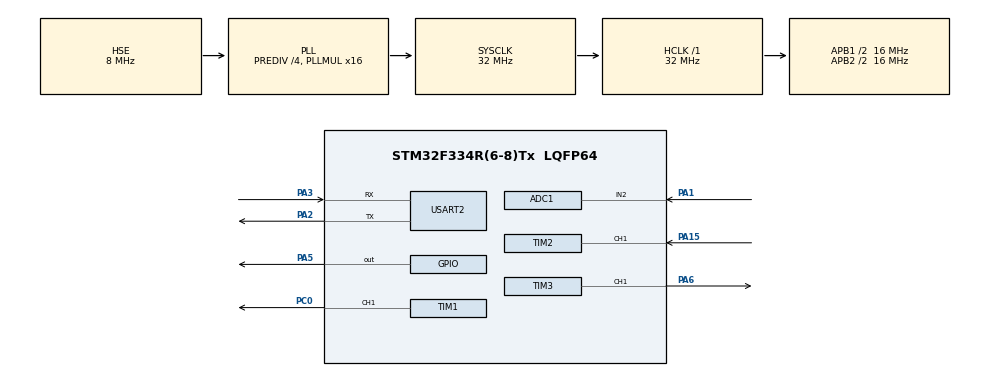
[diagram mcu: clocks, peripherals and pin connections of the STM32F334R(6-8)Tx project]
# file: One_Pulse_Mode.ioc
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ADC1.Channel-3\#ChannelRegularConversion=ADC_CHANNEL_2
ADC1.ContinuousConvMode=ENABLE
ADC1.DMAContinuousRequests=ENABLE
ADC1.NbrOfConversionFlag=1
ADC1.Offset-3\#ChannelRegularConversion=0
ADC1.OffsetNumber-3\#ChannelRegularConversion=ADC_OFFSET_NONE
ADC1.Rank-3\#ChannelRegularConversion=1
ADC1.SamplingTime-3\#ChannelRegularConversion=ADC_SAMPLETIME_1CYCLE_5
ADC1.SamplingTimeOPAMP-3\#ChannelRegularConversion=ADC_SAMPLETIME_19CYCLES_5
ADC1.SubFamily=STM32F334x8
ADC1.master=1
Dma.ADC1.0.Direction=DMA_PERIPH_TO_MEMORY
Dma.ADC1.0.Instance=DMA1_Channel1
Dma.ADC1.0.MemDataAlignment=DMA_MDATAALIGN_WORD
Dma.ADC1.0.MemInc=DMA_MINC_ENABLE
Dma.ADC1.0.Mode=DMA_CIRCULAR
Dma.ADC1.0.PeriphDataAlignment=DMA_PDATAALIGN_HALFWORD
Dma.ADC1.0.PeriphInc=DMA_PINC_DISABLE
Dma.ADC1.0.Priority=DMA_PRIORITY_LOW
Dma.Request0=ADC1
Mcu.Family=STM32F3
Mcu.Name=STM32F334R(6-8)Tx
Mcu.Package=LQFP64
NVIC.DMA1_Channel1_IRQn=true\:0\:0\:false\:false\:true\:false\:true\:true
NVIC.PriorityGroup=NVIC_PRIORITYGROUP_4
NVIC.TIM2_IRQn=true\:0\:0\:false\:false\:true\:true\:true\:true
NVIC.TIM3_IRQn=true\:0\:0\:false\:false\:true\:true\:true\:true
PA1.Mode=IN2-Single-Ended
PA1.Signal=ADC1_IN2
PA15.Signal=S_TIM2_CH1_ETR
PA2.Mode=Asynchronous
PA2.Signal=USART2_TX
PA3.Mode=Asynchronous
PA3.Signal=USART2_RX
PA5.Signal=GPIO_Output
PA6.Signal=S_TIM3_CH1
PC0.Signal=S_TIM1_CH1
PF0\ /\ OSC_IN.Mode=HSE-External-Oscillator
PF0\ /\ OSC_IN.Signal=RCC_OSC_IN
PF1\ /\ OSC_OUT.Mode=HSE-External-Oscillator
PF1\ /\ OSC_OUT.Signal=RCC_OSC_OUT
ProjectManager.HeapSize=0x200
ProjectManager.StackSize=0x400
ProjectManager.TargetToolchain=STM32CubeIDE
RCC.AHBFreq_Value=32000000
RCC.APB1CLKDivider=RCC_HCLK_DIV2
RCC.APB1Freq_Value=16000000
RCC.APB1TimFreq_Value=32000000
RCC.APB2CLKDivider=RCC_HCLK_DIV2
RCC.APB2Freq_Value=16000000
RCC.APB2TimFreq_Value=32000000
RCC.CortexFreq_Value=32000000
RCC.HCLKFreq_Value=32000000
RCC.HSE_VALUE=8000000
RCC.HSI_VALUE=8000000
RCC.LSE_VALUE=32768
RCC.PLLMUL=RCC_PLL_MUL16
RCC.PLLSourceVirtual=RCC_PLLSOURCE_HSE
RCC.RCC_PLLsource_Clock_Source_FROM_HSE=RCC_HSE_PREDIV_DIV4
RCC.SYSCLKFreq_VALUE=32000000
RCC.SYSCLKSourceVirtual=RCC_SYSCLKSOURCE_PLLCLK
SH.S_TIM1_CH1.0=TIM1_CH1,Output Compare1 CH1
SH.S_TIM2_CH1_ETR.0=TIM2_CH1,Input_Capture1_from_TI1
SH.S_TIM3_CH1.0=TIM3_CH1,Output Compare1 CH1
TIM1.Channel-Output\ Compare1\ CH1=TIM_CHANNEL_1
TIM1.Period=20-1
TIM1.Prescaler=32-1
TIM1.Pulse-Output\ Compare1\ CH1=10-1
TIM2.Channel-Input_Capture1_from_TI1=TIM_CHANNEL_1
TIM2.Period=10000-1
TIM2.Prescaler=32-1
TIM2.TIM_MasterOutputTrigger=TIM_TRGO_UPDATE
TIM2.TIM_MasterSlaveMode=TIM_MASTERSLAVEMODE_DISABLE
TIM3.Channel-Output\ Compare1\ CH1=TIM_CHANNEL_1
TIM3.Period=3010-1
TIM3.Prescaler=32-1
TIM3.Pulse-Output\ Compare1\ CH1=3000-1
USART2.VirtualMode-Asynchronous=VM_ASYNC
VP_TIM1_VS_ClockSourceITR.Mode=TriggerSource_ITR1
VP_TIM1_VS_ControllerModeTrigger.Mode=Trigger Mode
VP_TIM1_VS_OPM.Mode=OPM_bit
VP_TIM2_VS_ClockSourceINT.Mode=Internal
VP_TIM3_VS_ClockSourceITR.Mode=TriggerSource_ITR1
VP_TIM3_VS_ControllerModeTrigger.Mode=Trigger Mode
VP_TIM3_VS_OPM.Mode=OPM_bit
board=custom

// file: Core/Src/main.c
/* USER CODE BEGIN Header */
/**
  ******************************************************************************
  * @file           : main.c
  * @brief          : Main program body
  ******************************************************************************
  * @attention
  *
  * Copyright (c) 2023 STMicroelectronics.
  * All rights reserved.
  *
  * This software is licensed under terms that can be found in the LICENSE file
  * in the root directory of this software component.
  * If no LICENSE file comes with this software, it is provided AS-IS.
  *
  ******************************************************************************
  */
/* USER CODE END Header */
#include "main.h"

/* USER CODE BEGIN Includes */
#include <string.h>
#include <stdio.h>
/* USER CODE END Includes */

/* USER CODE BEGIN PD */
#define SAMPLES 82 //size for our buffer

#define Green_LED GPIO_PIN_5
/* USER CODE END PD */

ADC_HandleTypeDef hadc1;
DMA_HandleTypeDef hdma_adc1;

TIM_HandleTypeDef htim1;
TIM_HandleTypeDef htim2;
TIM_HandleTypeDef htim3;

UART_HandleTypeDef huart2;

/* USER CODE BEGIN PV */
uint8_t buf[12];
uint16_t adc_samp[SAMPLES];
// uint16_t convCompleted = 0;
static uint32_t new_data_available = 0;
uint32_t num_usart[SAMPLES];
uint32_t sum_2 =0;
uint32_t sum =0;

/* USER CODE END PV */

void SystemClock_Config(void);
static void MX_GPIO_Init(void);
static void MX_DMA_Init(void);
static void MX_TIM2_Init(void);
static void MX_TIM1_Init(void);
static void MX_TIM3_Init(void);
static void MX_ADC1_Init(void);
static void MX_USART2_UART_Init(void);

int main(void)
{

  /* MCU Configuration--------------------------------------------------------*/

  /* Reset of all peripherals, Initializes the Flash interface and the Systick. */
  HAL_Init();

  /* Configure the system clock */
  SystemClock_Config();

  /* Initialize all configured peripherals */
  MX_GPIO_Init();
  MX_DMA_Init();
  MX_TIM2_Init();
  MX_TIM1_Init();
  MX_TIM3_Init();
  MX_ADC1_Init();
  MX_USART2_UART_Init();
  /* USER CODE BEGIN 2 */

  // Enable update interrupt for TIM2
  HAL_TIM_Base_Start(&htim2);

  // Enable one-pulse mode and output compare interrupt for TIM1
  HAL_TIM_OnePulse_Start_IT(&htim1, TIM_CHANNEL_1);
  //HAL_TIM_OC_Start_IT(&htim1, TIM_CHANNEL_1);

  // Enable one-pulse mode and output compare interrupt for TIM3
  HAL_TIM_OnePulse_Start_IT(&htim3, TIM_CHANNEL_1);
  HAL_TIM_OC_Start_IT(&htim3, TIM_CHANNEL_1);

  /* USER CODE END 2 */

  /* Infinite loop */
  /* USER CODE BEGIN WHILE */
  while (1)
  {
        if (new_data_available == 1){
          sum_2 +=1;
	      HAL_GPIO_WritePin(GPIOA, Green_LED, GPIO_PIN_SET);
	      for (int i = 0; i < 81; i+=2) {
	          num_usart[i] += adc_samp[i];
	      }
	      if (sum_2 == 16){
	    	  for (int i = 0; i < 81; i+=2) {
	    	  sprintf((char*)buf, "%u \r\n", (unsigned int)num_usart[i]);
	    	  HAL_UART_Transmit(&huart2, buf, strlen((char*)buf), HAL_MAX_DELAY);
	    	  num_usart[i] = 0;
	    	  sum_2 = 0;
	    	  }
	      }
	      HAL_GPIO_WritePin(GPIOA, Green_LED, GPIO_PIN_RESET);
	      new_data_available = 0;
        }

    /* USER CODE END WHILE */

  }
}

void SystemClock_Config(void)
{
  RCC_OscInitTypeDef RCC_OscInitStruct = {0};
  RCC_ClkInitTypeDef RCC_ClkInitStruct = {0};
  RCC_PeriphCLKInitTypeDef PeriphClkInit = {0};

  /** Initializes the RCC Oscillators according to the specified parameters
  * in the RCC_OscInitTypeDef structure.
  */
  RCC_OscInitStruct.OscillatorType = RCC_OSCILLATORTYPE_HSE;
  RCC_OscInitStruct.HSEState = RCC_HSE_ON;
  RCC_OscInitStruct.HSEPredivValue = RCC_HSE_PREDIV_DIV4;
  RCC_OscInitStruct.HSIState = RCC_HSI_ON;
  RCC_OscInitStruct.PLL.PLLState = RCC_PLL_ON;
  RCC_OscInitStruct.PLL.PLLSource = RCC_PLLSOURCE_HSE;
  RCC_OscInitStruct.PLL.PLLMUL = RCC_PLL_MUL16;
  if (HAL_RCC_OscConfig(&RCC_OscInitStruct) != HAL_OK)
  {
    Error_Handler();
  }

  /** Initializes the CPU, AHB and APB buses clocks
  */
  RCC_ClkInitStruct.ClockType = RCC_CLOCKTYPE_HCLK|RCC_CLOCKTYPE_SYSCLK
                              |RCC_CLOCKTYPE_PCLK1|RCC_CLOCKTYPE_PCLK2;
  RCC_ClkInitStruct.SYSCLKSource = RCC_SYSCLKSOURCE_PLLCLK;
  RCC_ClkInitStruct.AHBCLKDivider = RCC_SYSCLK_DIV1;
  RCC_ClkInitStruct.APB1CLKDivider = RCC_HCLK_DIV2;
  RCC_ClkInitStruct.APB2CLKDivider = RCC_HCLK_DIV2;

  if (HAL_RCC_ClockConfig(&RCC_ClkInitStruct, FLASH_LATENCY_1) != HAL_OK)
  {
    Error_Handler();
  }
  PeriphClkInit.PeriphClockSelection = RCC_PERIPHCLK_TIM1|RCC_PERIPHCLK_ADC12;
  PeriphClkInit.Adc12ClockSelection = RCC_ADC12PLLCLK_DIV1;
  PeriphClkInit.Tim1ClockSelection = RCC_TIM1CLK_HCLK;
  if (HAL_RCCEx_PeriphCLKConfig(&PeriphClkInit) != HAL_OK)
  {
    Error_Handler();
  }
}

static void MX_ADC1_Init(void)
{

  ADC_MultiModeTypeDef multimode = {0};
  ADC_ChannelConfTypeDef sConfig = {0};

  /** Common config
  */
  hadc1.Instance = ADC1;
  hadc1.Init.ClockPrescaler = ADC_CLOCK_ASYNC_DIV1;
  hadc1.Init.Resolution = ADC_RESOLUTION_12B;
  hadc1.Init.ScanConvMode = ADC_SCAN_DISABLE;
  hadc1.Init.ContinuousConvMode = ENABLE;
  hadc1.Init.DiscontinuousConvMode = DISABLE;
  hadc1.Init.ExternalTrigConvEdge = ADC_EXTERNALTRIGCONVEDGE_NONE;
  hadc1.Init.ExternalTrigConv = ADC_SOFTWARE_START;
  hadc1.Init.DataAlign = ADC_DATAALIGN_RIGHT;
  hadc1.Init.NbrOfConversion = 1;
  hadc1.Init.DMAContinuousRequests = ENABLE;
  hadc1.Init.EOCSelection = ADC_EOC_SINGLE_CONV;
  hadc1.Init.LowPowerAutoWait = DISABLE;
  hadc1.Init.Overrun = ADC_OVR_DATA_OVERWRITTEN;
  if (HAL_ADC_Init(&hadc1) != HAL_OK)
  {
    Error_Handler();
  }

  /** Configure the ADC multi-mode
  */
  multimode.Mode = ADC_MODE_INDEPENDENT;
  if (HAL_ADCEx_MultiModeConfigChannel(&hadc1, &multimode) != HAL_OK)
  {
    Error_Handler();
  }

  /** Configure Regular Channel
  */
  sConfig.Channel = ADC_CHANNEL_2;
  sConfig.Rank = ADC_REGULAR_RANK_1;
  sConfig.SingleDiff = ADC_SINGLE_ENDED;
  sConfig.SamplingTime = ADC_SAMPLETIME_1CYCLE_5;
  sConfig.OffsetNumber = ADC_OFFSET_NONE;
  sConfig.Offset = 0;
  if (HAL_ADC_ConfigChannel(&hadc1, &sConfig) != HAL_OK)
  {
    Error_Handler();
  }

}

static void MX_TIM1_Init(void)
{

  TIM_SlaveConfigTypeDef sSlaveConfig = {0};
  TIM_MasterConfigTypeDef sMasterConfig = {0};
  TIM_OC_InitTypeDef sConfigOC = {0};
  TIM_BreakDeadTimeConfigTypeDef sBreakDeadTimeConfig = {0};

  htim1.Instance = TIM1;
  htim1.Init.Prescaler = 32-1;
  htim1.Init.CounterMode = TIM_COUNTERMODE_UP;
  htim1.Init.Period = 35-1;
  htim1.Init.ClockDivision = TIM_CLOCKDIVISION_DIV1;
  htim1.Init.RepetitionCounter = 0;
  htim1.Init.AutoReloadPreload = TIM_AUTORELOAD_PRELOAD_DISABLE;
  if (HAL_TIM_Base_Init(&htim1) != HAL_OK)
  {
    Error_Handler();
  }
  if (HAL_TIM_OC_Init(&htim1) != HAL_OK)
  {
    Error_Handler();
  }
  if (HAL_TIM_OnePulse_Init(&htim1, TIM_OPMODE_SINGLE) != HAL_OK)
  {
    Error_Handler();
  }
  sSlaveConfig.SlaveMode = TIM_SLAVEMODE_TRIGGER;
  sSlaveConfig.InputTrigger = TIM_TS_ITR1;
  if (HAL_TIM_SlaveConfigSynchro(&htim1, &sSlaveConfig) != HAL_OK)
  {
    Error_Handler();
  }
  sMasterConfig.MasterOutputTrigger = TIM_TRGO_RESET;
  sMasterConfig.MasterOutputTrigger2 = TIM_TRGO2_RESET;
  sMasterConfig.MasterSlaveMode = TIM_MASTERSLAVEMODE_DISABLE;
  if (HAL_TIMEx_MasterConfigSynchronization(&htim1, &sMasterConfig) != HAL_OK)
  {
    Error_Handler();
  }
  sConfigOC.OCMode = TIM_OCMODE_PWM2;
  sConfigOC.Pulse = 25-1;
  sConfigOC.OCPolarity = TIM_OCPOLARITY_HIGH;
  sConfigOC.OCNPolarity = TIM_OCNPOLARITY_HIGH;
  sConfigOC.OCFastMode = TIM_OCFAST_DISABLE;
  sConfigOC.OCIdleState = TIM_OCIDLESTATE_RESET;
  sConfigOC.OCNIdleState = TIM_OCNIDLESTATE_RESET;
  if (HAL_TIM_OC_ConfigChannel(&htim1, &sConfigOC, TIM_CHANNEL_1) != HAL_OK)
  {
    Error_Handler();
  }
  sBreakDeadTimeConfig.OffStateRunMode = TIM_OSSR_DISABLE;
  sBreakDeadTimeConfig.OffStateIDLEMode = TIM_OSSI_DISABLE;
  sBreakDeadTimeConfig.LockLevel = TIM_LOCKLEVEL_OFF;
  sBreakDeadTimeConfig.DeadTime = 0;
  sBreakDeadTimeConfig.BreakState = TIM_BREAK_DISABLE;
  sBreakDeadTimeConfig.BreakPolarity = TIM_BREAKPOLARITY_HIGH;
  sBreakDeadTimeConfig.BreakFilter = 0;
  sBreakDeadTimeConfig.Break2State = TIM_BREAK2_DISABLE;
  sBreakDeadTimeConfig.Break2Polarity = TIM_BREAK2POLARITY_HIGH;
  sBreakDeadTimeConfig.Break2Filter = 0;
  sBreakDeadTimeConfig.AutomaticOutput = TIM_AUTOMATICOUTPUT_DISABLE;
  if (HAL_TIMEx_ConfigBreakDeadTime(&htim1, &sBreakDeadTimeConfig) != HAL_OK)
  {
    Error_Handler();
  }
  /* USER CODE BEGIN TIM1_Init 2 */
//  __HAL_TIM_ENABLE_IT(&htim1, TIM_IT_UPDATE);            // Enable Timer 1 Update Event interrupt for elapsedPeriodCallback
//  __HAL_TIM_ENABLE_IT(&htim1, TIM_IT_CC1);               // Enable Timer 1 Channel 1 interrupt for elapsedPeriodCallback

  //HAL_NVIC_ClearPendingIRQ(TIM1_IRQn);  // make sure that any pending interrupt is cleared
  //HAL_NVIC_EnableIRQ(TIM1_IRQn);  // Enable the interrupt
  /* USER CODE END TIM1_Init 2 */
  HAL_TIM_MspPostInit(&htim1);

}

static void MX_TIM2_Init(void)
{

  TIM_ClockConfigTypeDef sClockSourceConfig = {0};
  TIM_MasterConfigTypeDef sMasterConfig = {0};
  TIM_IC_InitTypeDef sConfigIC = {0};

  htim2.Instance = TIM2;
  htim2.Init.Prescaler = 32-1;
  htim2.Init.CounterMode = TIM_COUNTERMODE_UP;
  htim2.Init.Period = 10000-1;
  htim2.Init.ClockDivision = TIM_CLOCKDIVISION_DIV1;
  htim2.Init.AutoReloadPreload = TIM_AUTORELOAD_PRELOAD_DISABLE;
  if (HAL_TIM_Base_Init(&htim2) != HAL_OK)
  {
    Error_Handler();
  }
  sClockSourceConfig.ClockSource = TIM_CLOCKSOURCE_INTERNAL;
  if (HAL_TIM_ConfigClockSource(&htim2, &sClockSourceConfig) != HAL_OK)
  {
    Error_Handler();
  }
  if (HAL_TIM_IC_Init(&htim2) != HAL_OK)
  {
    Error_Handler();
  }
  sMasterConfig.MasterOutputTrigger = TIM_TRGO_UPDATE;
  sMasterConfig.MasterSlaveMode = TIM_MASTERSLAVEMODE_DISABLE;
  if (HAL_TIMEx_MasterConfigSynchronization(&htim2, &sMasterConfig) != HAL_OK)
  {
    Error_Handler();
  }
  sConfigIC.ICPolarity = TIM_INPUTCHANNELPOLARITY_RISING;
  sConfigIC.ICSelection = TIM_ICSELECTION_DIRECTTI;
  sConfigIC.ICPrescaler = TIM_ICPSC_DIV1;
  sConfigIC.ICFilter = 0;
  if (HAL_TIM_IC_ConfigChannel(&htim2, &sConfigIC, TIM_CHANNEL_1) != HAL_OK)
  {
    Error_Handler();
  }
  /* USER CODE BEGIN TIM2_Init 2 */
  __HAL_TIM_ENABLE_IT(&htim2, TIM_IT_UPDATE);            // Enable Timer 3 Update Event interrupt for elapsedPeriodCallback
  __HAL_TIM_ENABLE_IT(&htim2, TIM_IT_CC1);               // Enable Timer 3 Channel 1 interrupt for elapsedPeriodCallback
  /* USER CODE END TIM2_Init 2 */

}

static void MX_TIM3_Init(void)
{

  TIM_SlaveConfigTypeDef sSlaveConfig = {0};
  TIM_MasterConfigTypeDef sMasterConfig = {0};
  TIM_OC_InitTypeDef sConfigOC = {0};

  htim3.Instance = TIM3;
  htim3.Init.Prescaler = 32-1;
  htim3.Init.CounterMode = TIM_COUNTERMODE_UP;
  htim3.Init.Period = 65-1;
  htim3.Init.ClockDivision = TIM_CLOCKDIVISION_DIV1;
  htim3.Init.AutoReloadPreload = TIM_AUTORELOAD_PRELOAD_DISABLE;
  if (HAL_TIM_Base_Init(&htim3) != HAL_OK)
  {
    Error_Handler();
  }
  if (HAL_TIM_OC_Init(&htim3) != HAL_OK)
  {
    Error_Handler();
  }
  if (HAL_TIM_OnePulse_Init(&htim3, TIM_OPMODE_SINGLE) != HAL_OK)
  {
    Error_Handler();
  }
  sSlaveConfig.SlaveMode = TIM_SLAVEMODE_TRIGGER;
  sSlaveConfig.InputTrigger = TIM_TS_ITR1;
  if (HAL_TIM_SlaveConfigSynchro(&htim3, &sSlaveConfig) != HAL_OK)
  {
    Error_Handler();
  }
  sMasterConfig.MasterOutputTrigger = TIM_TRGO_RESET;
  sMasterConfig.MasterSlaveMode = TIM_MASTERSLAVEMODE_DISABLE;
  if (HAL_TIMEx_MasterConfigSynchronization(&htim3, &sMasterConfig) != HAL_OK)
  {
    Error_Handler();
  }
  sConfigOC.OCMode = TIM_OCMODE_PWM2;
  sConfigOC.Pulse = 55-1;
  sConfigOC.OCPolarity = TIM_OCPOLARITY_HIGH;
  sConfigOC.OCFastMode = TIM_OCFAST_DISABLE;
  if (HAL_TIM_OC_ConfigChannel(&htim3, &sConfigOC, TIM_CHANNEL_1) != HAL_OK)
  {
    Error_Handler();
  }
  /* USER CODE BEGIN TIM3_Init 2 */
__HAL_TIM_ENABLE_IT(&htim3, TIM_IT_UPDATE);            // Enable Timer 3 Update Event interrupt for elapsedPeriodCallback
__HAL_TIM_ENABLE_IT(&htim3, TIM_IT_CC1);               // Enable Timer 3 Channel 1 interrupt for elapsedPeriodCallback

  HAL_NVIC_ClearPendingIRQ(TIM3_IRQn);  // make sure that any pending interrupt is cleared
  HAL_NVIC_EnableIRQ(TIM3_IRQn);  // Enable the interrupt

  /* USER CODE END TIM3_Init 2 */
  HAL_TIM_MspPostInit(&htim3);

}

static void MX_USART2_UART_Init(void)
{

  huart2.Instance = USART2;
  huart2.Init.BaudRate = 38400;
  huart2.Init.WordLength = UART_WORDLENGTH_8B;
  huart2.Init.StopBits = UART_STOPBITS_1;
  huart2.Init.Parity = UART_PARITY_NONE;
  huart2.Init.Mode = UART_MODE_TX_RX;
  huart2.Init.HwFlowCtl = UART_HWCONTROL_NONE;
  huart2.Init.OverSampling = UART_OVERSAMPLING_16;
  huart2.Init.OneBitSampling = UART_ONE_BIT_SAMPLE_DISABLE;
  huart2.AdvancedInit.AdvFeatureInit = UART_ADVFEATURE_NO_INIT;
  if (HAL_UART_Init(&huart2) != HAL_OK)
  {
    Error_Handler();
  }

}

static void MX_DMA_Init(void)
{

  /* DMA controller clock enable */
  __HAL_RCC_DMA1_CLK_ENABLE();

  /* DMA interrupt init */
  /* DMA1_Channel1_IRQn interrupt configuration */
  HAL_NVIC_SetPriority(DMA1_Channel1_IRQn, 0, 0);
  HAL_NVIC_EnableIRQ(DMA1_Channel1_IRQn);

}

static void MX_GPIO_Init(void)
{
  GPIO_InitTypeDef GPIO_InitStruct = {0};

  /* GPIO Ports Clock Enable */
  __HAL_RCC_GPIOF_CLK_ENABLE();
  __HAL_RCC_GPIOC_CLK_ENABLE();
  __HAL_RCC_GPIOA_CLK_ENABLE();

  /*Configure GPIO pin Output Level */
  HAL_GPIO_WritePin(GPIOA, GPIO_PIN_5, GPIO_PIN_RESET);

  /*Configure GPIO pin : PA5 */
  GPIO_InitStruct.Pin = GPIO_PIN_5;
  GPIO_InitStruct.Mode = GPIO_MODE_OUTPUT_PP;
  GPIO_InitStruct.Pull = GPIO_NOPULL;
  GPIO_InitStruct.Speed = GPIO_SPEED_FREQ_LOW;
  HAL_GPIO_Init(GPIOA, &GPIO_InitStruct);

}

/* USER CODE BEGIN 4 */
//void HAL_TIM_OC_DelayElapsedCallback(TIM_HandleTypeDef *htim){
//	if (htim->Instance == TIM3) {
//    	HAL_GPIO_WritePin(GPIOA, Green_LED, GPIO_PIN_RESET);
//    	HAL_ADC_Stop_DMA(&hadc1);
//    	new_data_available = 1;
//	}
//}
void HAL_TIM_PeriodElapsedCallback(TIM_HandleTypeDef *htim){
	sum +=1;
	if(sum >2){
	    if (htim->Instance == TIM2)
	    {
	        HAL_ADC_Start_DMA(&hadc1, (uint32_t*)adc_samp, SAMPLES);
 	    	//HAL_GPIO_WritePin(GPIOA, Green_LED, GPIO_PIN_SET);
	    }
	    else if (htim->Instance == TIM3)
	    {
	    	HAL_ADC_Stop_DMA(&hadc1);
	    	//HAL_GPIO_WritePin(GPIOA, Green_LED, GPIO_PIN_RESET);
	    	new_data_available = 1;
	    }
	}
}

/* USER CODE END 4 */

void Error_Handler(void)
{
  __disable_irq();
  while (1)
  {
  }
}
